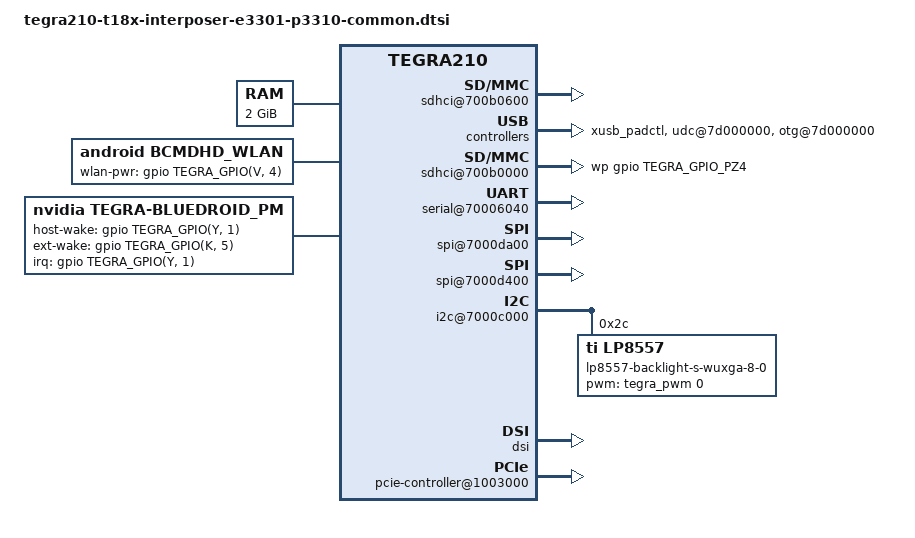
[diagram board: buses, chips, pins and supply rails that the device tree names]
/*
 * tegra210-t18x-interposer-e3301-p3310-common.dtsi: Common DTSI for
 *	E3301-* and P3310-*.
 *
 * Copyright (c) 2015, NVIDIA CORPORATION.  All rights reserved.
 *
 * This program is free software; you can redistribute it and/or modify
 * it under the terms of the GNU General Public License as published by
 * the Free Software Foundation; version 2 of the License.
 *
 * This program is distributed in the hope that it will be useful, but WITHOUT
 * ANY WARRANTY; without even the implied warranty of MERCHANTABILITY or
 * FITNESS FOR A PARTICULAR PURPOSE.  See the GNU General Public License for
 * more details.
 *
 */

/dts-v1/;

/memreserve/ 0x80000000 0x00020000;

#include "tegra210-t18x-interposer-common.dtsi"
#include "tegra210-platforms/tegra210-sdhci.dtsi"
#include "panel-s-wuxga-8-0.dtsi"

/ {
	#address-cells = <2>;
	#size-cells = <2>;

	pmc@7000e400 {
		nvidia,invert-interrupt;
	};

	memory@80000000 {
		device_type = "memory";
		reg = < 0x0 0x80000000 0x0 0x80000000 >;
	};

	sdhci@700b0600 { /* SDMMC4 for EMMC */
		max-clk-limit = <266000000>;
		uhs-mask = <0x0>;
		built-in;
		power-off-rail;
		nvidia,enable-hs533-mode;
		pll_source = "pll_p", "pll_c4_out1";
		status = "okay";
	};

    xusb_padctl { /* Put common control config here */
	avdd_pll_uerefe-supply = <&max77620_ldo7>;
	hvdd_pex_pll_e-supply = <&max77620_sd3>;
	dvdd_pex_pll-supply = <&max77620_ldo1>;
	hvddio_pex-supply = <&max77620_sd3>;
	dvddio_pex-supply = <&max77620_ldo1>;
	hvdd_sata-supply = <&max77620_sd3>;
	dvdd_sata_pll-supply = <&max77620_ldo8>;
	hvddio_sata-supply = <&max77620_sd3>;
	dvddio_sata-supply = <&max77620_ldo8>;
	nvidia,ss_portmap = <0x21>;
	nvidia,lane_owner = <0xff56>; /* Use 0xF to disable lane assign */
	nvidia,lane-map = <0x14>;
	status = "okay";
    };


	sdhci@700b0400 {
		mmc-ocr-mask = <0>;
		default-drv-type = <1>;
		uhs-mask = <0x1c>;
		power-off-rail;
		status = "disabled";
	};

	sdhci@700b0200 { /* SDMMC2 for Wifi */
		nvidia,is-ddr-tap-delay;
		nvidia,ddr-tap-delay = <0>;
		uhs-mask = <0x8>;
		power-off-rail;
		status = "disabled";
	};

	sdhci@700b0000 { /* SDMMC1 for SD card */
		uhs-mask = <0x8>;
		power-off-rail;
		nvidia,sd-device;
		wp-gpios = <&gpio TEGRA_GPIO_PZ4 0>;
		status = "okay";
	};

	serial@70006040 {
		status = "okay";
	};

	spi@7000da00 {
		status = "ok";
	};

	spi@7000d400 {
		status = "okay";
	};

	extcon {
		extcon@0 {
			status = "disabled";
		};
	};

	i2c@7000c400 {
		nvidia,clock-always-on;
	};

	i2c@7000d000 {
		clock-frequency = <1000000>;
	};

	i2c@7000c000 {
		status = "okay";
		lp8557-backlight-s-wuxga-8-0@2c {
			status = "okay";
			disable-on-kernel-charging;
			compatible = "ti,lp8557";
			reg = <0x2c>;

			bl-name = "pwm-backlight"; /* Match liblights naming expectations */
			init-brt = /bits/ 8 <0xFF>; /* Max brightness */
			dev-ctrl = /bits/ 8 <0x80>; /* PWM, enable standby mode */
			pwm-period = <29334>;

			pwm-names = "lp8557";
			pwms = <&tegra_pwm 0 29334>;

			bl-measured = < 0 1 2 3 4 5 5 6
					7 8 9 10 11 11 12 13
					14 15 15 16 17 18 19 20
					21 22 22 23 24 25 26 27
					28 29 30 31 31 32 33 34
					35 36 37 37 38 39 40 41
					41 42 43 44 45 46 47 48
					48 49 50 51 52 53 54 54
					55 56 57 58 58 59 60 61
					62 63 64 65 66 67 68 69
					70 71 72 73 74 75 75 76
					77 78 79 80 81 82 83 84
					85 86 87 88 89 90 91 92
					93 94 94 95 96 97 98 99
					100 101 102 104 105 106 107 108
					109 110 111 112 113 114 115 116
					117 118 119 120 121 122 123 125
					126 127 128 129 130 131 132 133
					134 135 136 137 138 139 140 141
					142 143 144 146 147 148 149 150
					151 152 153 154 155 156 157 158
					159 160 161 162 163 164 165 167
					168 169 170 171 172 173 174 175
					176 178 179 180 181 182 183 184
					185 186 187 188 189 190 191 192
					193 194 195 196 197 199 200 201
					202 203 204 205 206 207 208 210
					211 212 213 214 215 216 217 219
					220 221 222 223 225 226 227 228
					229 230 231 233 234 235 236 237
					238 239 240 241 242 244 245 246
					247 248 249 250 251 253 254 255 >;

			bl-curve = < 0 1 1 2 2 3 3 4
					4 5 5 6 7 7 8 8
					9 9 10 10 11 11 12 12
					13 14 14 15 15 16 16 17
					17 18 18 19 20 20 21 21
					22 22 23 23 24 24 25 25
					26 27 27 28 28 29 29 30
					30 31 31 32 33 33 34 34
					35 35 36 36 37 37 38 38
					39 40 40 41 41 42 42 43
					43 44 44 45 46 46 47 47
					48 48 49 49 50 50 51 52
					52 53 53 54 54 55 55 56
					56 57 57 58 59 59 60 60
					61 61 62 62 63 63 64 65
					65 66 66 67 67 68 68 69
					69 70 70 71 72 72 73 73
					74 74 75 75 76 76 77 78
					78 79 79 80 80 81 81 82
					82 83 83 84 85 85 86 86
					87 87 88 88 89 89 90 92
					94 96 97 99 101 103 105 107
					109 110 112 114 116 118 120 122
					123 125 127 129 131 133 134 136
					138 140 142 144 146 147 149 151
					153 155 157 159 160 162 164 166
					168 170 172 173 175 177 179 181
					183 185 186 188 190 192 194 196
					198 199 201 203 205 207 209 211
					212 214 216 218 220 222 223 225
					227 229 231 233 235 236 238 240
					242 244 246 248 249 251 253 255 >;

			/* 5 LED string */
			rom_14h {
				rom-addr = /bits/ 8 <0x14>;
				rom-val = /bits/ 8 <0x9f>;
			};

			/*Boost freq 1MHZ*/
			rom_13h {
				rom-addr = /bits/ 8 <0x13>;
				rom-val = /bits/ 8 <0x01>;
			};

			/*20mA max */
			rom_11h {
				rom-addr = /bits/ 8 <0x11>;
				rom-val = /bits/ 8 <0x05>;
			};
		};
	};

	backlight {
		status="okay";
		disable-on-kernel-charging;
		panel-s-wuxga-8-0-bl {
			status = "okay";
			};
		};

	host1x {
		/* tegradc.0 */
		dc@54200000 {
			status = "okay";
			nvidia,dc-flags = <TEGRA_DC_FLAG_ENABLED>;
			nvidia,emc-clk-rate = <300000000>;
			nvidia,fb-bpp = <32>; /* bits per pixel */
			nvidia,fb-flags = <TEGRA_FB_FLIP_ON_PROBE>;
		};

		/* tegradc.1 */
		dc@54240000 {
			status = "okay";
			nvidia,dc-flags = <TEGRA_DC_FLAG_ENABLED>;
			nvidia,emc-clk-rate = <300000000>;
			nvidia,cmu-enable = <1>;
			nvidia,fb-bpp = <32>; /* bits per pixel */
			nvidia,fb-flags = <TEGRA_FB_FLIP_ON_PROBE>;
		};

		dsi {
			nvidia,dsi-controller-vs = <DSI_VS_1>;
			status = "okay";
			panel-s-wuxga-8-0 {
				status="okay";
				nvidia,dsi-dpd-pads = <DSIC_DPD_EN DSID_DPD_EN>;
				nvidia,panel-rst-gpio = <&tca9539_77 0 0>; /* GPIO expander 7n77 */
				nvidia,panel-bl-pwm-gpio = <&gpio TEGRA_GPIO(V, 0) 0>; /* PV0 */
				nvidia,panel-en-gpio = <&gpio TEGRA_GPIO(V, 1) 0>; /* PV1 */
				nvidia,dsi-refresh-rate = <75>;
				disp-default-out {
					nvidia,out-rotation = <180>;
				};
				vrr-settings {
					nvidia,vrr_min_fps = <30>;
				};
				display-timings {
					1200x1920-32-75Hz {
						clock-frequency = <193224000>;
						hactive = <1200>;
						vactive = <1920>;
						hfront-porch = <107>;
						hback-porch = <20>;
						hsync-len = <1>;
						vfront-porch = <12>;
						vback-porch = <7>;
						vsync-len = <1>;
						nvidia,h-ref-to-sync = <1>;
						nvidia,v-ref-to-sync = <11>;
					};
				};
			};
		};
	};

	udc@7d000000 {
		nvidia,port-otg;
		nvidia,charging-supported;
		nvidia,enable-pmu-vbus-detection;
		nvidia,turn-off-vbus-in-lp0;
		nvidia,id-detection-type = <1>;
		status = "okay";
	};

	otg@7d000000 {
		nvidia,enable-pmu-vbus-detection;
		nvidia,id-detection-type = <1>;
		status = "okay";
	};

	pcie-controller@1003000 {
		nvidia,lane-map = <0x14>;
		dvdd-pex-pll-supply = <&max77620_ldo7>;
		l0-dvddio-pex-supply = <&max77620_ldo7>;
		l1-dvddio-pex-supply = <&max77620_ldo7>;
		l2-dvddio-pex-supply = <&max77620_ldo7>;
		l3-dvddio-pex-supply = <&max77620_ldo7>;
		l4-dvddio-pex-supply = <&max77620_ldo7>;
		l5-dvddio-pex-supply = <&max77620_ldo7>;
		l6-dvddio-pex-supply = <&max77620_ldo7>;
		hvdd-pex-pll-e-supply = <&max77620_sd2>;
		l0-hvddio-pex-supply = <&max77620_sd2>;
		l1-hvddio-pex-supply = <&max77620_sd2>;
		l2-hvddio-pex-supply = <&max77620_sd2>;
		l3-hvddio-pex-supply = <&max77620_sd2>;
		l4-hvddio-pex-supply = <&max77620_sd2>;
		l5-hvddio-pex-supply = <&max77620_sd2>;
		l6-hvddio-pex-supply = <&max77620_sd2>;
		vddio-pex-ctl-supply = <&max77620_sd2>;
		status = "okay";

		pci@1,0 {
			nvidia,disable-clock-request;
			status = "okay";
		};

		pci@2,0 {
			nvidia,disable-clock-request;
			status = "okay";
		};
	};

	gpio: gpio@6000d000 {
		gpio-init-1 = <&wlan_default>;

		wlan_default: wlan-default {
			gpio-input = <
				TEGRA_GPIO(V, 3)
				>;
			gpio-output-high = <
				TEGRA_GPIO(V, 4)
				TEGRA_GPIO(T, 0)
				>;
		};
	};

	bcmdhd_wlan {
		compatible = "android,bcmdhd_wlan";
		wlan-pwr-gpio = <&gpio TEGRA_GPIO(V, 4) 0>;
		status = "okay";
	};

	bluedroid_pm {
		compatible = "nvidia,tegra-bluedroid_pm";
		id = <0>;
		/*bluedroid_pm,reset-gpio = <&gpio TEGRA_GPIO(V, 4) 0>;*/
		bluedroid_pm,host-wake-gpio = <&gpio TEGRA_GPIO(Y, 1) 0>;
		bluedroid_pm,ext-wake-gpio = <&gpio TEGRA_GPIO(K, 5) 0>;
		interrupt-parent = <&gpio>;
		interrupts = <TEGRA_GPIO(Y, 1) 0x01>;
	};
};
